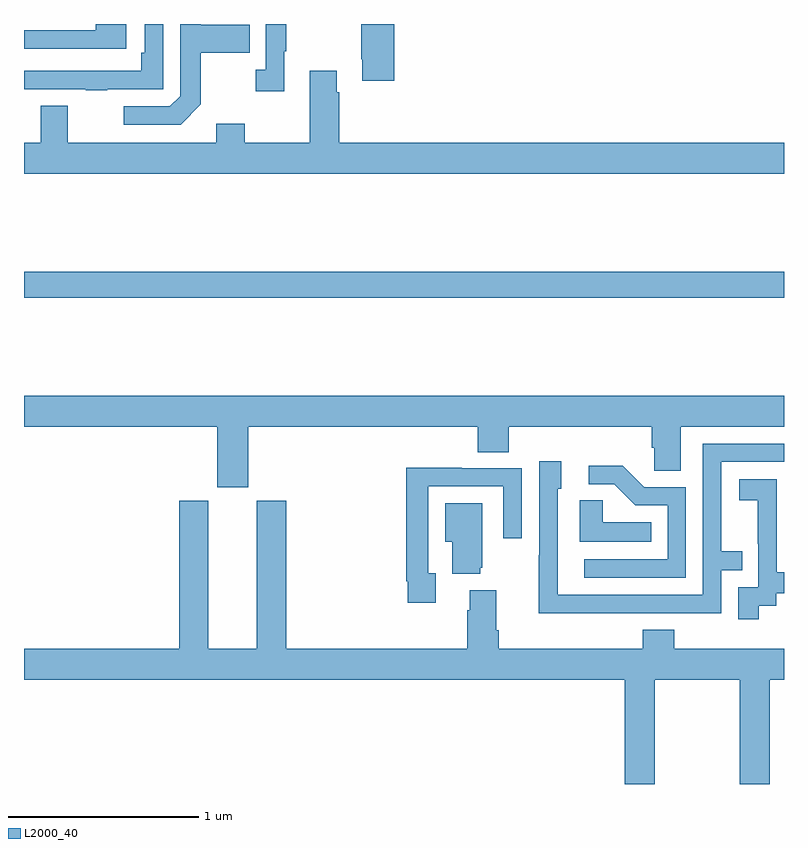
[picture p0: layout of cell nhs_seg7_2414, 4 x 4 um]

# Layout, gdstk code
import gdstk
lib = gdstk.Library(unit=1e-6, precision=1e-09)
def R(c, l, rs):  # rectangles x0, y0, x1, y1
    for r in rs: c.add(gdstk.rectangle(r[:2], r[2:], *l))
def P(c, l, *ps):  # polygons
    for p in ps: c.add(gdstk.Polygon(p, *l))
L2000_40 = (2000, 40)

nhs_seg7_2414 = lib.new_cell('nhs_seg7_2414')
R(nhs_seg7_2414, L2000_40, [(267,1070.56,271,1070.696)])
P(nhs_seg7_2414, L2000_40, [(268.369,1071.857),(268.381,1071.857),(268.381,1072),(268.272,1072),(268.272,1071.758),(268.221,1071.758),(268.221,1071.645),(268.369,1071.645)],
  [(268.949,1072),(268.774,1072),(268.774,1071.814),(268.781,1071.814),(268.781,1071.702),(268.949,1071.702)],
  [(267.437,1071.657),(267.732,1071.657),(267.732,1072),(267.636,1072),(267.636,1071.85),(267.616,1071.85),(267.616,1071.753),(267,1071.753),(267,1071.657),(267.325,1071.657),(267.325,1071.652),(267.437,1071.652)],
  [(267.538,1072),(267.377,1072),(267.377,1071.966),(267,1071.966),(267,1071.87),(267.538,1071.87)],
  [(267.931,1071.577),(267.931,1071.85),(268.187,1071.85),(268.187,1071.997),(267.931,1071.997),(267.931,1072),(267.822,1072),(267.822,1071.621),(267.768,1071.567),(267.525,1071.567),(267.525,1071.471),(267.825,1071.471)],
  [(271,1071.376),(268.658,1071.376),(268.658,1071.641),(268.645,1071.641),(268.645,1071.754),(268.505,1071.754),(268.505,1071.376),(268.161,1071.376),(268.161,1071.475),(268.013,1071.475),(268.013,1071.376),(267.229,1071.376),(267.229,1071.571),(267.089,1071.571),(267.089,1071.376),(267,1071.376),(267,1071.212),(271,1071.212)],
  [(268.18,1069.88),(269.387,1069.88),(269.387,1069.747),(269.552,1069.747),(269.552,1069.88),(270.305,1069.88),(270.305,1069.771),(270.318,1069.771),(270.318,1069.648),(270.457,1069.648),(270.457,1069.88),(271,1069.88),(271,1070.044),(267,1070.044),(267,1069.88),(268.016,1069.88),(268.016,1069.563),(268.18,1069.563)],
  [(270.173,1068.9),(270.669,1068.9),(270.669,1069.125),(270.779,1069.125),(270.779,1069.226),(270.669,1069.226),(270.669,1069.695),(271,1069.695),(271,1069.791),(270.573,1069.791),(270.573,1068.996),(269.808,1068.996),(269.808,1069.554),(269.827,1069.554),(269.827,1069.699),(269.712,1069.699),(269.712,1069.205),(269.71,1069.205),(269.71,1068.899),(270.173,1068.899)],
  [(270.483,1069.563),(270.264,1069.563),(270.151,1069.676),(269.973,1069.676),(269.973,1069.578),(270.107,1069.578),(270.218,1069.467),(270.387,1069.467),(270.387,1069.182),(269.949,1069.182),(269.949,1069.086),(270.483,1069.086)],
  [(269.167,1069.11),(269.127,1069.11),(269.127,1069.566),(269.523,1069.566),(269.523,1069.293),(269.619,1069.293),(269.619,1069.662),(269.303,1069.662),(269.303,1069.664),(269.011,1069.664),(269.011,1069.066),(269.019,1069.066),(269.019,1068.954),(269.167,1068.954)],
  [(270.868,1068.937),(270.96,1068.937),(270.96,1069.005),(271,1069.005),(271,1069.114),(270.962,1069.114),(270.962,1069.397),(270.963,1069.397),(270.963,1069.603),(270.765,1069.603),(270.765,1069.493),(270.863,1069.493),(270.863,1069.265),(270.864,1069.265),(270.864,1069.035),(270.759,1069.035),(270.759,1068.867),(270.868,1068.867)],
  [(270.302,1069.378),(270.045,1069.378),(270.045,1069.493),(269.924,1069.493),(269.924,1069.274),(270.302,1069.274)],
  [(270.321,1068.548),(270.766,1068.548),(270.766,1068),(270.926,1068),(270.926,1068.548),(271,1068.548),(271,1068.712),(270.422,1068.712),(270.422,1068.811),(270.257,1068.811),(270.257,1068.712),(269.498,1068.712),(269.498,1068.808),(269.485,1068.808),(269.485,1069.021),(269.345,1069.021),(269.345,1068.914),(269.333,1068.914),(269.333,1068.712),(268.379,1068.712),(268.379,1069.491),(268.226,1069.491),(268.226,1068.712),(267.97,1068.712),(267.97,1069.491),(267.818,1069.491),(267.818,1068.712),(267,1068.712),(267,1068.548),(270.161,1068.548),(270.161,1068),(270.321,1068)],
  [(269.402,1069.137),(269.413,1069.137),(269.413,1069.477),(269.216,1069.477),(269.216,1069.274),(269.255,1069.274),(269.255,1069.106),(269.402,1069.106)])

lib.write_gds('nhs_seg7_2414.gds')
